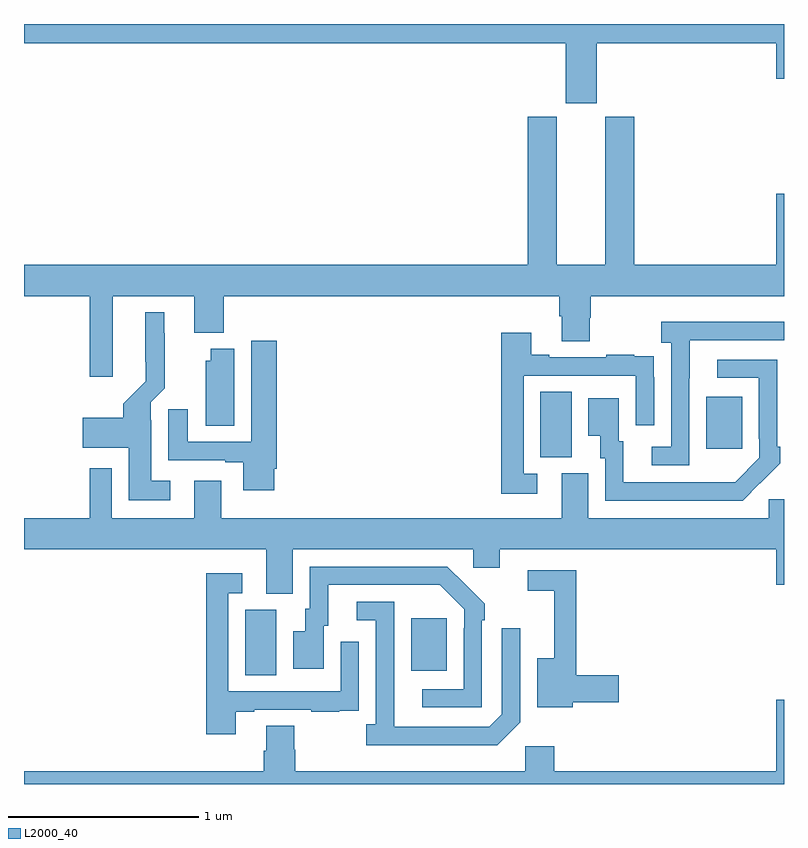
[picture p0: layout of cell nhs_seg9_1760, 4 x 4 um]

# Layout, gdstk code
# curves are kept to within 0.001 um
import gdstk
lib = gdstk.Library(unit=1e-6, precision=1e-09)
def R(c, l, rs):  # rectangles x0, y0, x1, y1
    for r in rs: c.add(gdstk.rectangle(r[:2], r[2:], *l))
def P(c, l, *ps):  # polygons
    for p in ps: c.add(gdstk.Polygon(p, *l))
L2000_40 = (2000, 40)

nhs_seg9_1760 = lib.new_cell('nhs_seg9_1760')
R(nhs_seg9_1760, L2000_40, [(210.164,1213.072,210.328,1213.416), (211.037,1213.097,211.225,1213.372), (211.718,1214.221,211.882,1214.564), (212.591,1214.265,212.779,1214.539)])
P(nhs_seg9_1760, L2000_40, [(212.014,1216.4),(212.96,1216.4),(212.96,1216.212),(213,1216.212),(213,1216.5),(209,1216.5),(209,1216.4),(211.85,1216.4),(211.85,1216.083),(212.014,1216.083)],
  [(209,1215.068),(209.345,1215.068),(209.345,1214.643),(209.467,1214.643),(209.467,1215.068),(209.897,1215.068),(209.897,1214.876),(210.05,1214.876),(210.05,1215.068),(211.817,1215.068),(211.817,1214.962),(211.829,1214.962),(211.829,1214.83),(211.977,1214.83),(211.977,1214.955),(211.982,1214.955),(211.982,1215.068),(213,1215.068),(213,1215.607),(212.96,1215.607),(212.96,1215.232),(212.213,1215.232),(212.213,1216.011),(212.06,1216.011),(212.06,1215.232),(211.804,1215.232),(211.804,1216.011),(211.652,1216.011),(211.652,1215.232),(209,1215.232)],
  [(209.77,1214.095),(209.671,1214.095),(209.671,1214.414),(209.667,1214.414),(209.667,1214.508),(209.741,1214.582),(209.741,1214.873),(209.737,1214.873),(209.737,1214.983),(209.639,1214.983),(209.64,1214.62),(209.522,1214.502),(209.522,1214.428),(209.31,1214.428),(209.31,1214.27),(209.552,1214.27),(209.552,1213.994),(209.77,1213.994)],
  [(212.502,1214.635),(212.503,1214.635),(212.503,1214.835),(213,1214.835),(213,1214.932),(212.355,1214.932),(212.355,1214.822),(212.406,1214.822),(212.406,1214.274),(212.304,1214.274),(212.304,1214.178),(212.502,1214.178)],
  [(211.702,1214.133),(211.629,1214.133),(211.629,1214.649),(212.22,1214.649),(212.22,1214.388),(212.316,1214.388),(212.316,1214.642),(212.315,1214.642),(212.315,1214.751),(212.213,1214.751),(212.213,1214.758),(212.065,1214.758),(212.065,1214.745),(211.765,1214.745),(211.765,1214.758),(211.669,1214.758),(211.669,1214.875),(211.513,1214.875),(211.513,1214.028),(211.702,1214.028)],
  [(210.316,1214.158),(210.329,1214.158),(210.329,1214.833),(210.197,1214.833),(210.197,1214.301),(209.863,1214.301),(209.863,1214.473),(209.759,1214.473),(209.759,1214.205),(210.059,1214.205),(210.059,1214.193),(210.155,1214.193),(210.155,1214.046),(210.316,1214.046)],
  [(210.106,1214.791),(209.984,1214.791),(209.984,1214.727),(209.957,1214.727),(209.957,1214.386),(210.106,1214.386)],
  [(212.873,1214.083),(212.874,1214.082),(212.979,1214.187),(212.979,1214.275),(212.964,1214.275),(212.964,1214.733),(212.649,1214.733),(212.649,1214.637),(212.868,1214.637),(212.868,1214.317),(212.871,1214.317),(212.871,1214.217),(212.743,1214.089),(212.155,1214.088),(212.155,1214.304),(212.131,1214.304),(212.131,1214.53),(211.97,1214.53),(211.97,1214.333),(212.033,1214.333),(212.033,1214.214),(212.058,1214.214),(212.058,1213.992),(212.782,1213.992)],
  [(210.415,1213.736),(211.365,1213.736),(211.365,1213.638),(211.504,1213.638),(211.504,1213.736),(212.96,1213.736),(212.96,1213.548),(213,1213.548),(213,1213.998),(212.919,1213.998),(212.919,1213.9),(211.969,1213.9),(211.969,1214.136),(211.829,1214.136),(211.829,1213.9),(210.037,1213.9),(210.037,1214.095),(209.897,1214.095),(209.897,1213.9),(209.463,1213.9),(209.463,1214.161),(209.347,1214.161),(209.347,1213.9),(209,1213.9),(209,1213.736),(210.275,1213.736),(210.275,1213.501),(210.415,1213.501)],
  [(211.41,1213.361),(211.425,1213.361),(211.425,1213.449),(211.228,1213.644),(210.504,1213.644),(210.504,1213.422),(210.479,1213.422),(210.479,1213.303),(210.416,1213.303),(210.416,1213.107),(210.577,1213.107),(210.577,1213.332),(210.601,1213.332),(210.601,1213.548),(211.189,1213.548),(211.317,1213.419),(211.317,1213.319),(211.314,1213.319),(211.314,1212.999),(211.095,1212.999),(211.095,1212.903),(211.41,1212.903)],
  [(211.888,1212.931),(212.131,1212.931),(212.131,1213.073),(211.907,1213.073),(211.907,1213.626),(211.65,1213.626),(211.65,1213.518),(211.79,1213.518),(211.79,1213.162),(211.7,1213.162),(211.7,1212.905),(211.888,1212.905)],
  [(210.115,1212.879),(210.211,1212.879),(210.211,1212.891),(210.511,1212.891),(210.511,1212.879),(210.659,1212.879),(210.659,1212.885),(210.761,1212.885),(210.761,1212.994),(210.762,1212.994),(210.762,1213.249),(210.666,1213.249),(210.666,1212.987),(210.075,1212.987),(210.075,1213.503),(210.148,1213.503),(210.148,1213.609),(209.959,1213.609),(209.959,1212.762),(210.115,1212.762)],
  [(211.611,1212.825),(211.611,1213.321),(211.515,1213.321),(211.515,1212.867),(211.449,1212.801),(210.949,1212.801),(210.948,1213.458),(210.75,1213.458),(210.75,1213.362),(210.852,1213.362),(210.852,1212.814),(210.801,1212.814),(210.801,1212.704),(211.49,1212.704)],
  [(213,1212.943),(212.96,1212.943),(212.96,1212.568),(211.79,1212.568),(211.79,1212.7),(211.638,1212.7),(211.638,1212.568),(210.428,1212.568),(210.428,1212.681),(210.423,1212.681),(210.423,1212.806),(210.275,1212.806),(210.275,1212.674),(210.263,1212.674),(210.263,1212.568),(209,1212.568),(209,1212.5),(213,1212.5)])

lib.write_gds('nhs_seg9_1760.gds')
